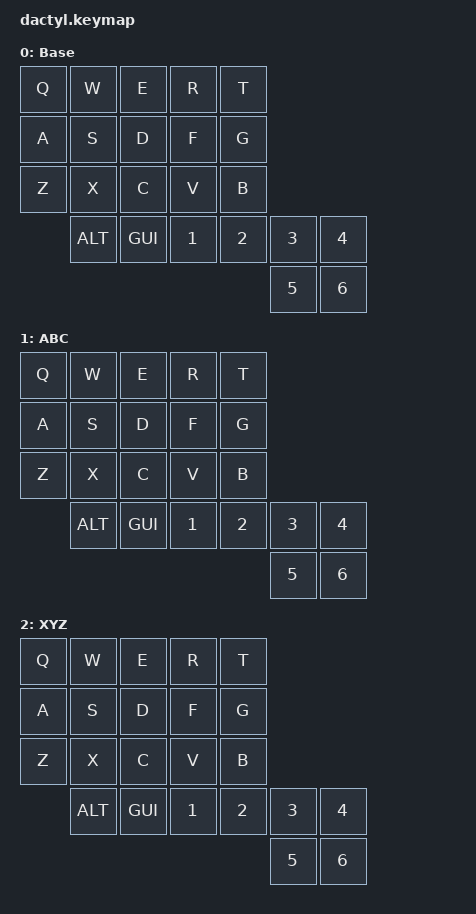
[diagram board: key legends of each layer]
#include <behaviors.dtsi>
#include <dt-bindings/zmk/keys.h>

/ {
       keymap {
        compatible = "zmk,keymap";
		
		
		default_layer { // Layer 0
            display-name = "Base";
// ----------------------------------------------
// |  Q  |   W   |   E   |  R   |  T   |                 
// |  A  |   S   |   D   |  F   |  G   |                 
// |  Z  |   X   |   C   |  V   |  B   |                  
//       |  ALT  |  GUI  |  1   |  2   |3  |  4  |			
//                                     |  5  |  6  | 
            bindings = <
                &kp Q   &kp W   &kp E   &kp R   &kp T  
                &kp A   &kp S   &kp D   &kp F   &kp G  
                &kp Z   &kp X   &kp C   &kp V   &kp B 
                        &kp ALT	&kp GUI	&kp 1   &kp 2   &kp 3   &kp 4
                                                        &kp 5   &kp 6
            >;
        };
		
		
        abc { // Layer 1
            display-name = "ABC";	
// ----------------------------------------------
// |  Q  |   W   |   E   |  R   |  T   |                 
// |  A  |   S   |   D   |  F   |  G   |                 
// |  Z  |   X   |   C   |  V   |  B   |                  
//       |  ALT  |  GUI  |  1   |  2   |3  |  4  |			
//                                     |  5  |  6  | 
            bindings = <
                &kp Q   &kp W   &kp E   &kp R   &kp T  
                &kp A   &kp S   &kp D   &kp F   &kp G  
                &kp Z   &kp X   &kp C   &kp V   &kp B 
                        &kp ALT	&kp GUI	&kp 1   &kp 2   &kp 3   &kp 4
                                                        &kp 5   &kp 6
            >;
        };
		
		
        xyz { // Layer 2
            display-name = "XYZ";	
// ----------------------------------------------
// |  Q  |   W   |   E   |  R   |  T   |                 
// |  A  |   S   |   D   |  F   |  G   |                 
// |  Z  |   X   |   C   |  V   |  B   |                  
//       |  ALT  |  GUI  |  1   |  2   |3  |  4  |			
//                                     |  5  |  6  | 
            bindings = <
                &kp Q   &kp W   &kp E   &kp R   &kp T  
                &kp A   &kp S   &kp D   &kp F   &kp G  
                &kp Z   &kp X   &kp C   &kp V   &kp B 
                        &kp ALT	&kp GUI	&kp 1   &kp 2   &kp 3   &kp 4
                                                        &kp 5   &kp 6
            >;
    };
};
